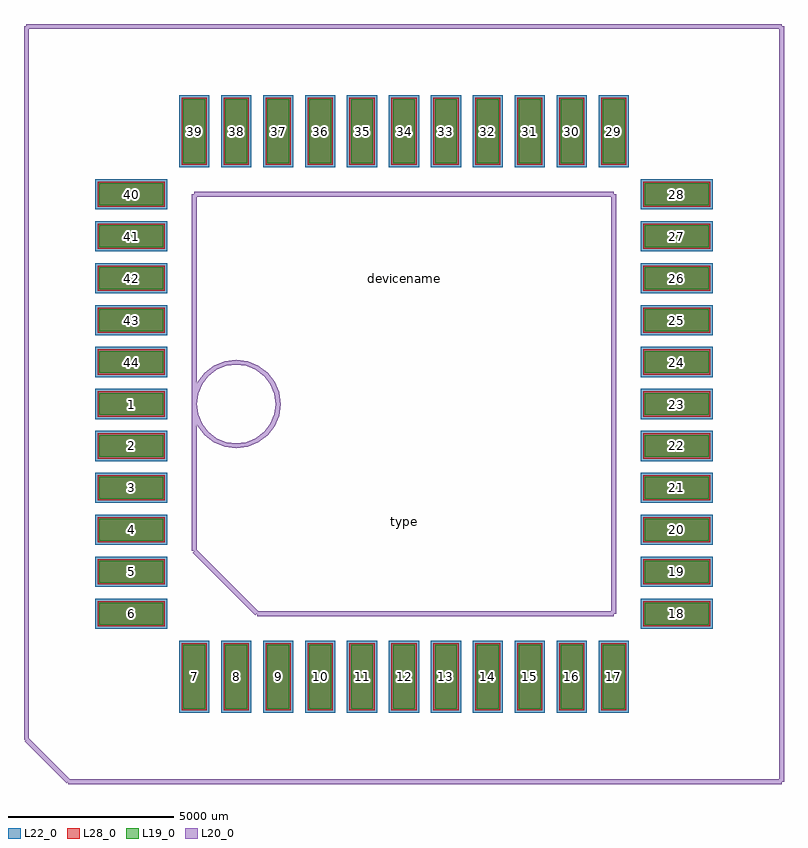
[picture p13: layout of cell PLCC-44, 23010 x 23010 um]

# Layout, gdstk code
import gdstk
lib = gdstk.Library(unit=1e-6, precision=1e-09)
def R(c, l, rs):  # rectangles x0, y0, x1, y1
    for r in rs: c.add(gdstk.rectangle(r[:2], r[2:], *l))
def A(c, l, x, y, w, h, nx, ny, dx, dy):  # array of equal rectangles
    R(c, l, [(x+i*dx, y+j*dy, x+i*dx+w, y+j*dy+h) for i in range(nx) for j in range(ny)])
L19_0 = (19, 0)
L20_0 = (20, 0)
L22_0 = (22, 0)
L28_0 = (28, 0)

plcc_44 = lib.new_cell('PLCC-44')
A(plcc_44, L19_0, -6681, -9221, 662, 1932, 11, 2, 1270, 16510)
A(plcc_44, L19_0, -9221, -6681, 1932, 662, 1, 11, 0, 1270)
A(plcc_44, L19_0, 7289, -6681, 1932, 662, 1, 11, 0, 1270)
A(plcc_44, L22_0, -6806, -9346, 912, 2182, 11, 2, 1270, 16510)
A(plcc_44, L22_0, -9346, -6806, 2182, 912, 1, 11, 0, 1270)
A(plcc_44, L22_0, 7164, -6806, 2182, 912, 1, 11, 0, 1270)
A(plcc_44, L28_0, -6731, -9271, 762, 2032, 11, 2, 1270, 16510)
A(plcc_44, L28_0, -9271, -6731, 2032, 762, 1, 11, 0, 1270)
A(plcc_44, L28_0, 7239, -6731, 2032, 762, 1, 11, 0, 1270)
plcc_44.add(gdstk.FlexPath([(-11430,11430),(-11430,-10160)], 149.998, ends="flush", simple_path=True, layer=20, datatype=0))  # L20_0
plcc_44.add(gdstk.FlexPath([(11430,11430),(-11430,11430)], 149.998, ends="flush", simple_path=True, layer=20, datatype=0))  # L20_0
plcc_44.add(gdstk.FlexPath([(11430,-11430),(11430,11430)], 149.998, ends="flush", simple_path=True, layer=20, datatype=0))  # L20_0
plcc_44.add(gdstk.FlexPath([(-10160,-11430),(11430,-11430)], 149.998, ends="flush", simple_path=True, layer=20, datatype=0))  # L20_0
plcc_44.add(gdstk.FlexPath([(-11430,-10160),(-10160,-11430)], 149.998, ends="flush", simple_path=True, layer=20, datatype=0))  # L20_0
plcc_44.add(gdstk.FlexPath([(-6350,-4445),(-6350,6350)], 149.998, ends="flush", simple_path=True, layer=20, datatype=0))  # L20_0
plcc_44.add(gdstk.FlexPath([(-4445,-6350),(-6350,-4445)], 149.998, ends="flush", simple_path=True, layer=20, datatype=0))  # L20_0
plcc_44.add(gdstk.FlexPath([(-6350,6350),(6350,6350)], 149.998, ends="flush", simple_path=True, layer=20, datatype=0))  # L20_0
plcc_44.add(gdstk.FlexPath([(6350,6350),(6350,-6350)], 149.998, ends="flush", simple_path=True, layer=20, datatype=0))  # L20_0
plcc_44.add(gdstk.FlexPath([(-4445,-6350),(6350,-6350)], 149.998, ends="flush", simple_path=True, layer=20, datatype=0))  # L20_0
plcc_44.add(gdstk.FlexPath([(-6350,0),(-6306.726,-328.7),(-6179.852,-635),(-5978.026,-898.026),(-5715,-1099.852),(-5408.7,-1226.726),(-5080,-1270),(-4751.3,-1226.726),(-4445,-1099.852),(-4181.974,-898.026),(-3980.148,-635),(-3853.274,-328.7),(-3810,0),(-3853.274,328.7),(-3980.148,635),(-4181.974,898.026),(-4445,1099.852),(-4751.3,1226.726),(-5080,1270),(-5408.7,1226.726),(-5715,1099.852),(-5978.026,898.026),(-6179.852,635),(-6306.726,328.7),(-6350,0)], 149.998, ends="flush", simple_path=True, layer=20, datatype=0))  # L20_0
plcc_44.add(gdstk.Label('44', (-8255,1270), layer=28, texttype=0))
plcc_44.add(gdstk.Label('43', (-8255,2540), layer=28, texttype=0))
plcc_44.add(gdstk.Label('42', (-8255,3810), layer=28, texttype=0))
plcc_44.add(gdstk.Label('41', (-8255,5080), layer=28, texttype=0))
plcc_44.add(gdstk.Label('40', (-8255,6350), layer=28, texttype=0))
plcc_44.add(gdstk.Label('39', (-6350,8255), layer=28, texttype=0))
plcc_44.add(gdstk.Label('38', (-5080,8255), layer=28, texttype=0))
plcc_44.add(gdstk.Label('37', (-3810,8255), layer=28, texttype=0))
plcc_44.add(gdstk.Label('36', (-2540,8255), layer=28, texttype=0))
plcc_44.add(gdstk.Label('35', (-1270,8255), layer=28, texttype=0))
plcc_44.add(gdstk.Label('34', (0,8255), layer=28, texttype=0))
plcc_44.add(gdstk.Label('33', (1270,8255), layer=28, texttype=0))
plcc_44.add(gdstk.Label('32', (2540,8255), layer=28, texttype=0))
plcc_44.add(gdstk.Label('31', (3810,8255), layer=28, texttype=0))
plcc_44.add(gdstk.Label('30', (5080,8255), layer=28, texttype=0))
plcc_44.add(gdstk.Label('29', (6350,8255), layer=28, texttype=0))
plcc_44.add(gdstk.Label('28', (8255,6350), layer=28, texttype=0))
plcc_44.add(gdstk.Label('27', (8255,5080), layer=28, texttype=0))
plcc_44.add(gdstk.Label('26', (8255,3810), layer=28, texttype=0))
plcc_44.add(gdstk.Label('25', (8255,2540), layer=28, texttype=0))
plcc_44.add(gdstk.Label('24', (8255,1270), layer=28, texttype=0))
plcc_44.add(gdstk.Label('23', (8255,0), layer=28, texttype=0))
plcc_44.add(gdstk.Label('22', (8255,-1270), layer=28, texttype=0))
plcc_44.add(gdstk.Label('21', (8255,-2540), layer=28, texttype=0))
plcc_44.add(gdstk.Label('20', (8255,-3810), layer=28, texttype=0))
plcc_44.add(gdstk.Label('19', (8255,-5080), layer=28, texttype=0))
plcc_44.add(gdstk.Label('18', (8255,-6350), layer=28, texttype=0))
plcc_44.add(gdstk.Label('17', (6350,-8255), layer=28, texttype=0))
plcc_44.add(gdstk.Label('16', (5080,-8255), layer=28, texttype=0))
plcc_44.add(gdstk.Label('15', (3810,-8255), layer=28, texttype=0))
plcc_44.add(gdstk.Label('14', (2540,-8255), layer=28, texttype=0))
plcc_44.add(gdstk.Label('13', (1270,-8255), layer=28, texttype=0))
plcc_44.add(gdstk.Label('12', (0,-8255), layer=28, texttype=0))
plcc_44.add(gdstk.Label('11', (-1270,-8255), layer=28, texttype=0))
plcc_44.add(gdstk.Label('10', (-2540,-8255), layer=28, texttype=0))
plcc_44.add(gdstk.Label('9', (-3810,-8255), layer=28, texttype=0))
plcc_44.add(gdstk.Label('8', (-5080,-8255), layer=28, texttype=0))
plcc_44.add(gdstk.Label('7', (-6350,-8255), layer=28, texttype=0))
plcc_44.add(gdstk.Label('6', (-8255,-6350), layer=28, texttype=0))
plcc_44.add(gdstk.Label('5', (-8255,-5080), layer=28, texttype=0))
plcc_44.add(gdstk.Label('4', (-8255,-3810), layer=28, texttype=0))
plcc_44.add(gdstk.Label('3', (-8255,-2540), layer=28, texttype=0))
plcc_44.add(gdstk.Label('2', (-8255,-1270), layer=28, texttype=0))
plcc_44.add(gdstk.Label('1', (-8255,0), layer=28, texttype=0))
plcc_44.add(gdstk.Label('type', (0,-3556), layer=9, texttype=0))
plcc_44.add(gdstk.Label('devicename', (0,3807.46), layer=9, texttype=0))

lib.write_gds('PLCC-44.gds')
